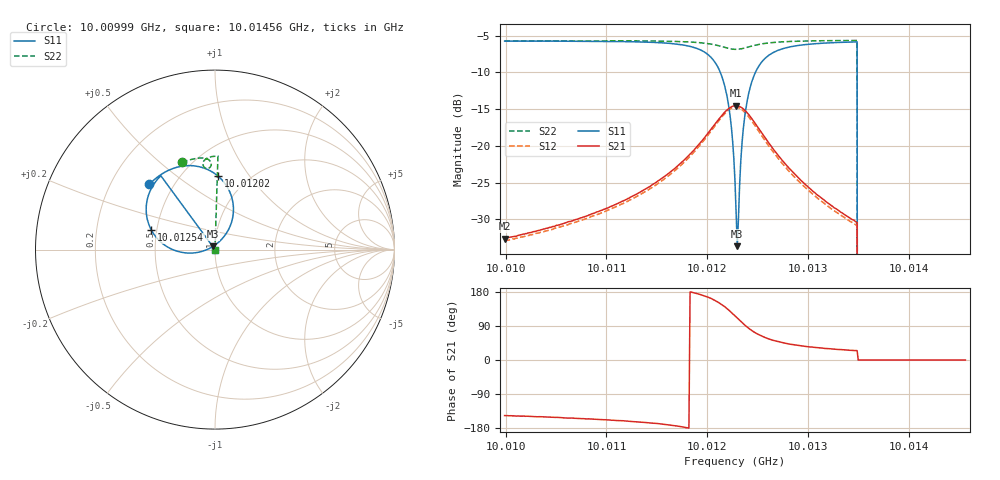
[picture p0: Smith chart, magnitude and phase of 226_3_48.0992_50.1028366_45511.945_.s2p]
#  HZ  S  RI  R  50.00
! Rohde & Schwarz Vector Network Analyzer
! Rohde-Schwarz,ZNB20-2Port,1311601062101988,3.16
! Created: UTC 12/23/2023, 3:57:17 AM
! freq[Hz]  re:S11  im:S11  re:S21  im:S21  re:S12  im:S12  re:S22  im:S22
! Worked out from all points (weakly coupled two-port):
!   401 points, 10.00999 GHz to 10.01456 GHz, reference 50 ohm
!   highest |S21| = -14.53 dB at 10.01229 GHz (marker M1); lowest = -32.6 dB at 10.00999 GHz (marker M2)
!   lowest |S11| = -33.6 dB at 10.0123 GHz (marker M3), VSWR 1.04, Z = 49 + j1.79 ohm
!   |S11| at or under -10 dB: 10.01213 GHz to 10.01248 GHz (348.5 kHz wide, 0.00348 % of centre); 10.01349 GHz to end of sweep
!   |S22| runs from - to -5.6 dB; largest |S21 - S12| = 0.0094
!   S11 on the Smith chart (normalised r, x): 10.00999 GHz: 0.37, +0.36; 10.01202 GHz: 0.74, +0.72; 10.01254 GHz: 0.47, +0.12; 10.01456 GHz: 1.00, +0.00
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1.0009988e10  -0.3668 0.3633  -0.0195 -0.0129  -0.0181 -0.0134  -0.1827 0.4854
1.0010755e10  -0.3111 0.4111  -0.0294 -0.0138  -0.0276 -0.0146  -0.1332 0.5019
1.0011521e10  -0.2044 0.4609  -0.057 -0.012  -0.0543 -0.0142  -0.0766 0.5108
1.0011853e10  -0.0901 0.4622  -0.0914 0.00254  -0.0882 -0.00222  -0.0454 0.5063
1.0012025e10  0.0181 0.4084  -0.1213 0.0346  -0.1195 0.0274  -0.0272 0.4938
1.0012128e10  0.0881 0.3072  -0.1337 0.0798  -0.1347 0.0705  -0.0207 0.4774
1.0012196e10  0.101 0.1944  -0.1262 0.122  -0.1282 0.1141  -0.0239 0.4635
1.0012242e10  0.0736 0.108  -0.1059 0.1514  -0.1099 0.1437  -0.0313 0.4557
1.0012276e10  0.0292 0.0492  -0.0828 0.1685  -0.0878 0.161  -0.0391 0.4525
1.0012288e10  0.0106 0.0329  -0.0742 0.1725  -0.0789 0.1656  -0.0418 0.4521
1.0012299e10  -0.00987 0.0183  -0.0651 0.1758  -0.0699 0.1689  -0.0446 0.4521
1.0012322e10  -0.0539 -0.00367  -0.0469 0.1794  -0.0512 0.1731  -0.0504 0.4532
1.0012356e10  -0.1247 -0.0191  -0.0192 0.1781  -0.0242 0.1721  -0.0577 0.4571
1.0012391e10  -0.1904 -0.0142  0.00505 0.17  -0.000161 0.1644  -0.0631 0.463
1.0012448e10  -0.2784 0.0236  0.0346 0.1478  0.0285 0.1432  -0.0667 0.4744
1.001254e10  -0.3543 0.1084  0.055 0.1104  0.0493 0.1073  -0.064 0.4899
1.0012757e10  -0.3813 0.2572  0.055 0.0555  0.0502 0.0551  -0.0441 0.5094
1.0013043e10  -0.3506 0.348  0.0411 0.028  0.0379 0.0284  -0.0184 0.518
1.0013466e10  -0.3042 0.4092  0.028 0.0129  0.0259 0.0137  0.0146 0.5215
1.0013523e10  0 0  0 0  0 0  0 0
1.0013809e10  0 0  0 0  0 0  0 0
1.0014564e10  0 0  0 0  0 0  0 0
